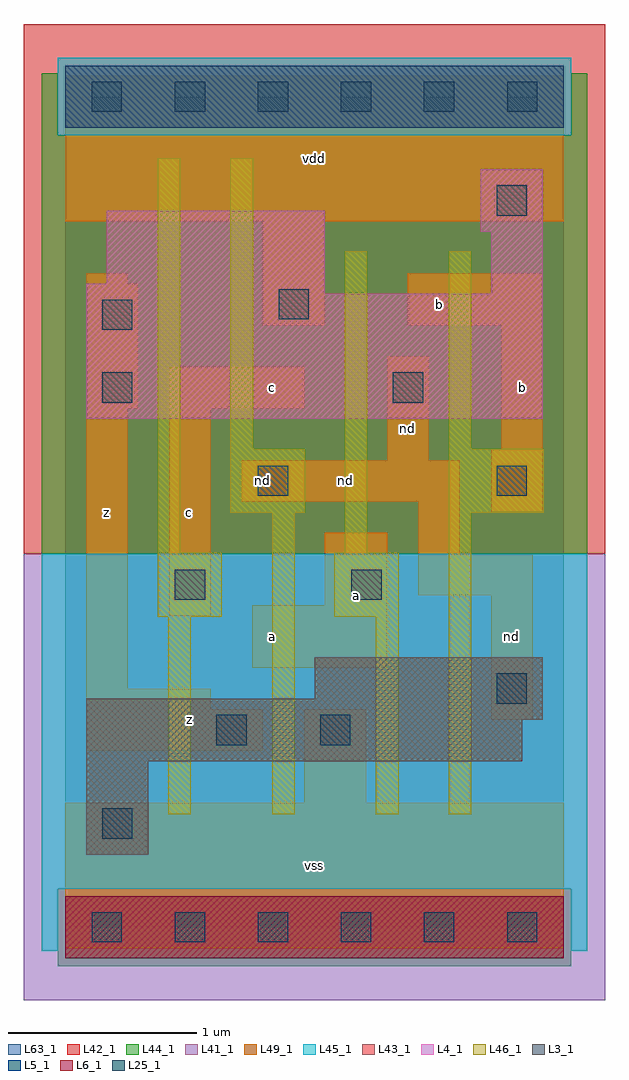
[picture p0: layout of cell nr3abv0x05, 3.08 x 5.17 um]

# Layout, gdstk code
import gdstk
lib = gdstk.Library(unit=1e-6, precision=1e-09)
def R(c, l, rs):  # rectangles x0, y0, x1, y1
    for r in rs: c.add(gdstk.rectangle(r[:2], r[2:], *l))
def A(c, l, x, y, w, h, nx, ny, dx, dy):  # array of equal rectangles
    R(c, l, [(x+i*dx, y+j*dy, x+i*dx+w, y+j*dy+h) for i in range(nx) for j in range(ny)])
L3_1 = (3, 1)
L4_1 = (4, 1)
L5_1 = (5, 1)
L6_1 = (6, 1)
L25_1 = (25, 1)
L41_1 = (41, 1)
L42_1 = (42, 1)
L43_1 = (43, 1)
L44_1 = (44, 1)
L45_1 = (45, 1)
L46_1 = (46, 1)
L49_1 = (49, 1)
L63_1 = (63, 1)

nr3abv0x05 = lib.new_cell('nr3abv0x05')
R(nr3abv0x05, L3_1, [(0.11,0.385,0.44,0.88), (0.11,0.88,2.42,1.1), (0.11,1.1,2.53,1.21), (1.32,1.21,2.53,1.43)])
R(nr3abv0x05, L4_1, [(0.11,2.695,2.53,3.355), (0.11,3.355,1.375,3.41), (2.255,3.355,2.53,3.685), (0.22,3.41,1.375,3.795), (2.2,3.685,2.53,4.015)])
R(nr3abv0x05, L5_1, [(0,4.235,2.64,4.565)])
R(nr3abv0x05, L6_1, [(0,-0.165,2.64,0.165)])
A(nr3abv0x05, L25_1, 0.14, -0.08, 0.16, 0.16, 6, 2, 0.44, 4.4)
R(nr3abv0x05, L25_1, [(0.195,0.47,0.355,0.63), (0.8,0.965,0.96,1.125), (1.35,0.965,1.51,1.125), (2.285,1.185,2.445,1.345), (0.58,1.735,0.74,1.895), (1.515,1.735,1.675,1.895), (1.02,2.285,1.18,2.445), (2.285,2.285,2.445,2.445), (0.195,2.78,0.355,2.94), (1.735,2.78,1.895,2.94), (0.195,3.165,0.355,3.325), (1.13,3.22,1.29,3.38), (2.285,3.77,2.445,3.93)])
R(nr3abv0x05, L41_1, [(-0.22,-0.385,2.86,1.98)])
R(nr3abv0x05, L42_1, [(-0.22,1.98,2.86,4.785)])
R(nr3abv0x05, L43_1, [(0,-0.165,2.64,0.165), (0.11,0.385,0.44,0.88), (0.11,0.88,2.42,1.1), (0.11,1.1,2.53,1.21), (1.32,1.21,2.53,1.43), (0.11,2.695,2.53,3.355), (0.11,3.355,1.375,3.41), (2.255,3.355,2.53,3.685), (0.22,3.41,1.375,3.795), (2.2,3.685,2.53,4.015), (0,4.235,2.64,4.565)])
R(nr3abv0x05, L44_1, [(-0.04,-0.205,2.68,0.205), (-0.125,1.98,2.765,4.195), (-0.125,4.195,-0.04,4.525), (2.68,4.195,2.765,4.525)])
R(nr3abv0x05, L45_1, [(-0.125,-0.125,-0.04,0.205), (2.68,-0.125,2.765,0.205), (-0.125,0.205,2.765,1.98), (-0.04,4.195,2.68,4.605)])
R(nr3abv0x05, L46_1, [(0.545,0.6,0.665,1.645), (1.095,0.6,1.215,2.195), (1.645,0.6,1.765,1.645), (2.03,0.6,2.15,2.195), (0.49,1.645,0.83,1.985), (1.425,1.645,1.765,1.985), (0.49,1.985,0.61,4.075), (1.48,1.985,1.6,3.58), (0.875,2.195,1.27,2.535), (2.03,2.195,2.535,2.535), (0.875,2.535,0.995,4.075), (2.03,2.535,2.15,3.58)])
R(nr3abv0x05, L49_1, [(0,-0.11,2.64,0.66), (1.265,0.66,1.595,1.155), (0.11,0.935,1.045,1.155), (2.255,1.1,2.475,1.76), (0.11,1.155,0.77,1.265), (0.11,1.265,0.33,2.75), (0.99,1.375,1.705,1.705), (0.55,1.65,0.77,2.75), (1.375,1.705,1.705,2.09), (1.87,1.76,2.475,1.98), (1.87,1.98,2.09,2.255), (2.255,2.2,2.53,2.53), (0.935,2.255,2.09,2.475), (1.705,2.475,1.925,3.025), (2.31,2.53,2.53,3.19), (0.11,2.75,0.385,3.41), (0.55,2.75,1.265,2.97), (1.045,3.19,1.375,3.74), (1.815,3.19,2.53,3.465), (0.11,3.41,0.33,3.465), (0,3.74,2.64,4.51)])
R(nr3abv0x05, L63_1, [(0,0,2.64,4.4)])
nr3abv0x05.add(gdstk.Label('nd', (1.045,2.365), layer=49, texttype=1))
nr3abv0x05.add(gdstk.Label('z', (0.22,2.2), layer=49, texttype=1))
nr3abv0x05.add(gdstk.Label('z', (0.66,1.1), layer=49, texttype=1))
nr3abv0x05.add(gdstk.Label('a', (1.1,1.54), layer=49, texttype=1))
nr3abv0x05.add(gdstk.Label('c', (0.66,2.2), layer=49, texttype=1))
nr3abv0x05.add(gdstk.Label('c', (1.1,2.86), layer=49, texttype=1))
nr3abv0x05.add(gdstk.Label('vss', (1.32,0.33), layer=49, texttype=1))
nr3abv0x05.add(gdstk.Label('a', (1.54,1.76), layer=49, texttype=1))
nr3abv0x05.add(gdstk.Label('nd', (1.815,2.64), layer=49, texttype=1))
nr3abv0x05.add(gdstk.Label('vdd', (1.32,4.07), layer=49, texttype=1))
nr3abv0x05.add(gdstk.Label('nd', (2.365,1.54), layer=49, texttype=1))
nr3abv0x05.add(gdstk.Label('nd', (1.485,2.365), layer=49, texttype=1))
nr3abv0x05.add(gdstk.Label('b', (2.42,2.86), layer=49, texttype=1))
nr3abv0x05.add(gdstk.Label('b', (1.98,3.3), layer=49, texttype=1))

lib.write_gds('nr3abv0x05.gds')
